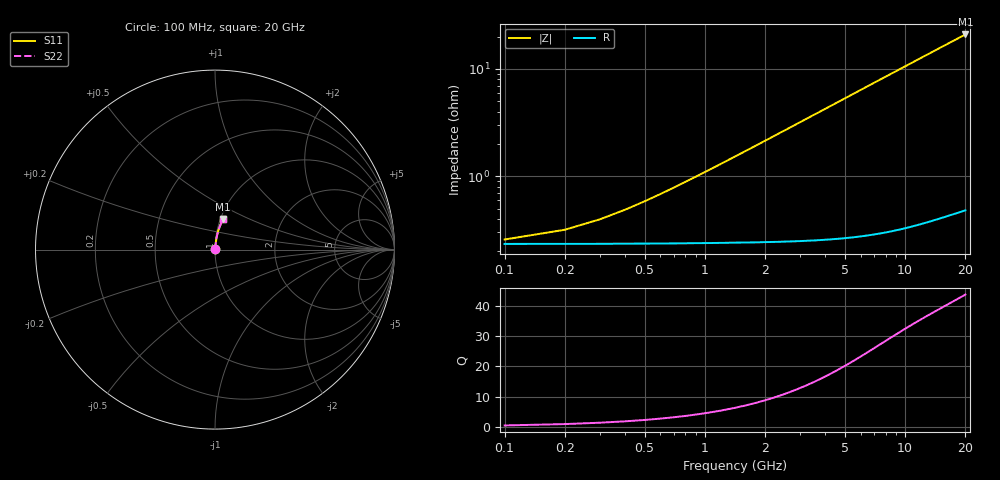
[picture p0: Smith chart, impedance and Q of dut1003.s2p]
! Touchstone file exported from HFSS 2026.1.0
!  File:  C:/ffzhzh/LocalFiles/Ansys_Project_Files/temp_train_TSV_1003_1783188433_51560.aedt
!  Generated:  02:10:16 AM Jul  5, 2026
!  Design:  TSV
!  Project:  temp_train_TSV_1003_1783188433_51560
! Variables:
!  h_bsmrdl = 2um
!  h_ox = 20um
!  h_rdl = 5um
!  h_sub = 82.52um
!  h_tmrdl = 5um
!  h_tsv = 82.52um
!  h_via = 3um
!  l_bsmrdl = 300um
!  l_sub = 404.02um
!  l_tmrdl = 200um
!  m_sub = 200um
!  pitch = 54.49um
!  r_tsv = 2.01um
!  s_tmrdl = 10um
!  w_bsmrdl = 18um
!  w_sub = 500um
!  w_tmrdl = 12um
!  x_tsv_center1 = 206um
!  x_tsv_center2 = 524um
!  x_tsv_center3 = 736um
!  x_tsv_center4 = 1054um
!  x_tsv_center5 = 1266um
!  x_tsv_center6 = 1584um
# GHz S MA R 50.000000
! Terminal data exported
! Port[1] = TSV1_1_T1
! Port[2] = TSV1_1_T2
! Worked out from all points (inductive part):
!   200 points, 100 MHz to 20 GHz, reference 50 ohm
!   read as one part in series: L = 170 pH near 700 MHz
!   highest Q = 43.6 at 20 GHz (marker M1), where L = 167 pH
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0.1  0.00251 21.5  0.9977 -0.1  0.9977 -0.1  0.00251 21.5
! Gamma 0 0 0 0
! Port Impedance 50 0 50 0
0.2  0.002979 38.2  0.9977 -0.1  0.9977 -0.1  0.002979 38.2
0.4  0.004375 57.3  0.9976 -0.3  0.9976 -0.3  0.004375 57.3
0.5  0.005179 62.7  0.9976 -0.3  0.9976 -0.3  0.005179 62.7
0.7  0.006873 69.4  0.9976 -0.5  0.9976 -0.5  0.006873 69.4
0.8  0.007744 71.7  0.9976 -0.6  0.9976 -0.6  0.007744 71.7
1  0.009511 74.8  0.9976 -0.7  0.9976 -0.7  0.009511 74.8
1.3  0.0122 77.8  0.9975 -0.9  0.9975 -0.9  0.0122 77.8
1.7  0.01581 80.1  0.9975 -1.2  0.9975 -1.2  0.01581 80.1
2.2  0.02035 81.6  0.9974 -1.5  0.9974 -1.5  0.02035 81.6
2.8  0.02582 82.6  0.9972 -1.9  0.9972 -1.9  0.02582 82.6
3.5  0.0322 83.1  0.997 -2.4  0.997 -2.4  0.0322 83.1
4.2  0.03858 83.3  0.9967 -2.9  0.9967 -2.9  0.03858 83.3
5  0.04586 83.3  0.9963 -3.4  0.9963 -3.4  0.04586 83.3
5.9  0.05403 83.0  0.9958 -4.1  0.9958 -4.1  0.05403 83.0
6.8  0.06218 82.7  0.9952 -4.7  0.9952 -4.7  0.06218 82.7
8.3  0.0757 82.0  0.9941 -5.7  0.9941 -5.7  0.0757 82.0
10.1  0.09181 81.0  0.9925 -6.9  0.9925 -6.9  0.09181 81.0
11.7  0.106 80.1  0.9909 -8.0  0.9909 -8.0  0.106 80.1
13.4  0.1209 79.1  0.9889 -9.2  0.9889 -9.2  0.1209 79.1
16.7  0.1495 77.0  0.9845 -11.3  0.9845 -11.3  0.1495 77.0
20  0.1774 75.0  0.9794 -13.5  0.9794 -13.5  0.1774 75.0
